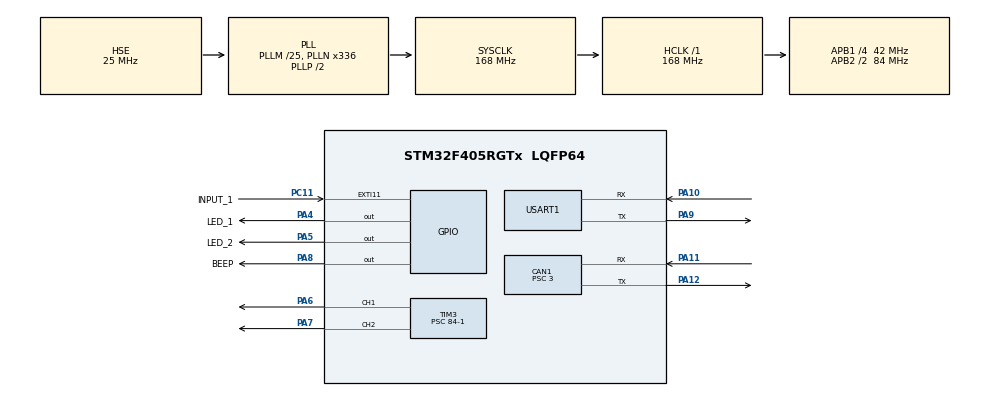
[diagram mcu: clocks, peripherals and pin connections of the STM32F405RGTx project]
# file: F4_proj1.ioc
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CAN1.ABOM=ENABLE
CAN1.AWUM=ENABLE
CAN1.BS1=CAN_BS1_9TQ
CAN1.BS2=CAN_BS2_4TQ
CAN1.CalculateBaudRate=1000000
CAN1.CalculateTimeBit=1000
CAN1.CalculateTimeQuantum=71.42857142857143
CAN1.NART=ENABLE
CAN1.Prescaler=3
Dma.Request0=USART1_RX
Dma.Request1=USART1_TX
Dma.USART1_RX.0.Direction=DMA_PERIPH_TO_MEMORY
Dma.USART1_RX.0.FIFOMode=DMA_FIFOMODE_DISABLE
Dma.USART1_RX.0.Instance=DMA2_Stream2
Dma.USART1_RX.0.MemDataAlignment=DMA_MDATAALIGN_BYTE
Dma.USART1_RX.0.MemInc=DMA_MINC_ENABLE
Dma.USART1_RX.0.Mode=DMA_NORMAL
Dma.USART1_RX.0.PeriphDataAlignment=DMA_PDATAALIGN_BYTE
Dma.USART1_RX.0.PeriphInc=DMA_PINC_DISABLE
Dma.USART1_RX.0.Priority=DMA_PRIORITY_LOW
Dma.USART1_TX.1.Direction=DMA_MEMORY_TO_PERIPH
Dma.USART1_TX.1.FIFOMode=DMA_FIFOMODE_DISABLE
Dma.USART1_TX.1.Instance=DMA2_Stream7
Dma.USART1_TX.1.MemDataAlignment=DMA_MDATAALIGN_BYTE
Dma.USART1_TX.1.MemInc=DMA_MINC_ENABLE
Dma.USART1_TX.1.Mode=DMA_NORMAL
Dma.USART1_TX.1.PeriphDataAlignment=DMA_PDATAALIGN_BYTE
Dma.USART1_TX.1.PeriphInc=DMA_PINC_DISABLE
Dma.USART1_TX.1.Priority=DMA_PRIORITY_LOW
Mcu.Family=STM32F4
Mcu.Name=STM32F405RGTx
Mcu.Package=LQFP64
NVIC.CAN1_RX0_IRQn=true\:5\:0\:true\:false\:true\:true\:true\:true
NVIC.CAN1_RX1_IRQn=true\:5\:0\:true\:false\:true\:true\:true\:true
NVIC.DMA2_Stream2_IRQn=true\:0\:0\:false\:false\:true\:false\:true\:true
NVIC.DMA2_Stream7_IRQn=true\:0\:0\:false\:false\:true\:false\:true\:true
NVIC.EXTI15_10_IRQn=true\:5\:0\:true\:false\:true\:true\:true\:true
NVIC.PriorityGroup=NVIC_PRIORITYGROUP_4
NVIC.TIM1_UP_TIM10_IRQn=true\:15\:0\:false\:false\:true\:false\:true\:true
NVIC.TIM2_IRQn=true\:5\:0\:true\:false\:true\:true\:true\:true
NVIC.TimeBase=TIM1_UP_TIM10_IRQn
NVIC.TimeBaseIP=TIM1
NVIC.USART1_IRQn=true\:5\:0\:true\:false\:true\:true\:true\:true
PA10.GPIO_PuPd=GPIO_PULLUP
PA10.Mode=Asynchronous
PA10.Signal=USART1_RX
PA11.Mode=CAN_Activate
PA11.Signal=CAN1_RX
PA12.Mode=CAN_Activate
PA12.Signal=CAN1_TX
PA4.GPIO_Label=LED_1
PA4.GPIO_PuPd=GPIO_PULLDOWN
PA4.Signal=GPIO_Output
PA5.GPIO_Label=LED_2
PA5.GPIO_PuPd=GPIO_PULLDOWN
PA5.Signal=GPIO_Output
PA6.Signal=S_TIM3_CH1
PA7.Signal=S_TIM3_CH2
PA8.GPIO_Label=BEEP
PA8.GPIO_PuPd=GPIO_PULLDOWN
PA8.Signal=GPIO_Output
PA9.Mode=Asynchronous
PA9.Signal=USART1_TX
PC11.GPIO_Label=INPUT_1
PC11.GPIO_PuPd=GPIO_PULLDOWN
PC11.Signal=GPXTI11
PH0-OSC_IN.Mode=HSE-External-Oscillator
PH0-OSC_IN.Signal=RCC_OSC_IN
PH1-OSC_OUT.Mode=HSE-External-Oscillator
PH1-OSC_OUT.Signal=RCC_OSC_OUT
ProjectManager.HeapSize=0x800
ProjectManager.StackSize=0x400
ProjectManager.TargetToolchain=MDK-ARM V5.32
RCC.48MHZClocksFreq_Value=84000000
RCC.AHBFreq_Value=168000000
RCC.APB1CLKDivider=RCC_HCLK_DIV4
RCC.APB1Freq_Value=42000000
RCC.APB1TimFreq_Value=84000000
RCC.APB2CLKDivider=RCC_HCLK_DIV2
RCC.APB2Freq_Value=84000000
RCC.APB2TimFreq_Value=168000000
RCC.CortexFreq_Value=168000000
RCC.HCLKFreq_Value=168000000
RCC.HSE_VALUE=25000000
RCC.HSI_VALUE=16000000
RCC.LSE_VALUE=32768
RCC.PLLM=25
RCC.PLLN=336
RCC.PLLSourceVirtual=RCC_PLLSOURCE_HSE
RCC.SYSCLKFreq_VALUE=168000000
RCC.SYSCLKSource=RCC_SYSCLKSOURCE_PLLCLK
RCC.VCOOutputFreq_Value=336000000
SH.S_TIM3_CH1.0=TIM3_CH1,PWM Generation1 CH1
SH.S_TIM3_CH2.0=TIM3_CH2,PWM Generation2 CH2
TIM2.Period=2000-1
TIM2.Prescaler=84-1
TIM3.AutoReloadPreload=TIM_AUTORELOAD_PRELOAD_ENABLE
TIM3.Channel-PWM\ Generation1\ CH1=TIM_CHANNEL_1
TIM3.Channel-PWM\ Generation2\ CH2=TIM_CHANNEL_2
TIM3.OCFastMode_PWM-PWM\ Generation1\ CH1=TIM_OCFAST_DISABLE
TIM3.Period=1000-1
TIM3.Prescaler=84-1
USART1.VirtualMode=VM_ASYNC
VP_SYS_VS_tim1.Mode=TIM1
VP_TIM2_VS_ClockSourceINT.Mode=Internal
VP_TIM3_VS_ClockSourceINT.Mode=Internal
board=custom

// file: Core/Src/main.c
/* USER CODE BEGIN Header */
/**
 ******************************************************************************
 * @file           : main.c
 * @brief          : Main program body
 ******************************************************************************
 * @attention
 *
 * Copyright (c) 2026 STMicroelectronics.
 * All rights reserved.
 *
 * This software is licensed under terms that can be found in the LICENSE file
 * in the root directory of this software component.
 * If no LICENSE file comes with this software, it is provided AS-IS.
 *
 ******************************************************************************
 */
/* USER CODE END Header */
#include "main.h"
#include "can.h"
#include "dma.h"
#include "tim.h"
#include "usart.h"
#include "gpio.h"

/* USER CODE BEGIN Includes */
#include "led.h"
#include "beep.h"
#include "EXTI_IRQHandler.h"
#include "TIM_IRQHandler.h"
#include "UART_IRQHandler.h"
#include "CAN_IRQHandler.h"
/* USER CODE END Includes */

/* USER CODE BEGIN PTD */
extern CAN_RxHeaderTypeDef RxHeader;
extern uint8_t RxData[8];
Mode State = IDLE;
uint8_t led_flag = 0;
uint8_t current_led = 0;
/* USER CODE END PTD */

void SystemClock_Config(void);

int main(void)
{

  /* MCU Configuration--------------------------------------------------------*/

  /* Reset of all peripherals, Initializes the Flash interface and the Systick. */
  HAL_Init();

  /* Configure the system clock */
  SystemClock_Config();

  /* Initialize all configured peripherals */
  MX_GPIO_Init();
  MX_DMA_Init();
  MX_TIM2_Init();
  MX_TIM3_Init();
  MX_USART1_UART_Init();
  MX_CAN1_Init();
  /* USER CODE BEGIN 2 */
  Beep_Init();
  UART_Start_Recieve();
  if (HAL_CAN_Start(&hcan1) != HAL_OK)
  {
    Error_Handler();
  }
  if (HAL_CAN_ActivateNotification(&hcan1, CAN_IT_RX_FIFO0_MSG_PENDING) != HAL_OK)
  {
    Error_Handler();
  }
  /* USER CODE END 2 */

  /* Infinite loop */
  /* USER CODE BEGIN WHILE */
  while (1)
  {
    switch (State)
    {
    case BUZZER:
      Beep_Alarm(Beep_Trigger);
      Beep_Trigger = 0;
      uint8_t beep_ans[2] = {'O', 'K'};
      CAN_Send_Response(&hcan1, 0x02010101, beep_ans, 2);
      break;

    case LED_WATER:
    {
      uint8_t led_ans[3] = {'O', 'K', current_led};
      CAN_Send_Response(&hcan1, 0x02010201, led_ans, 3);

      if (led_flag == 0)
      {
        LED_OFF(1);
        LED_OFF(2);
        current_led = 0;
      }
      else if (led_flag == 1)
      {
        led_Water();
        current_led = 1;
      }

      break;
    }

      State = IDLE;
      break;
    }
  }

  /* USER CODE END WHILE */

}

void SystemClock_Config(void)
{
  RCC_OscInitTypeDef RCC_OscInitStruct = {0};
  RCC_ClkInitTypeDef RCC_ClkInitStruct = {0};

  /** Configure the main internal regulator output voltage
   */
  __HAL_RCC_PWR_CLK_ENABLE();
  __HAL_PWR_VOLTAGESCALING_CONFIG(PWR_REGULATOR_VOLTAGE_SCALE1);

  /** Initializes the RCC Oscillators according to the specified parameters
   * in the RCC_OscInitTypeDef structure.
   */
  RCC_OscInitStruct.OscillatorType = RCC_OSCILLATORTYPE_HSE;
  RCC_OscInitStruct.HSEState = RCC_HSE_ON;
  RCC_OscInitStruct.PLL.PLLState = RCC_PLL_ON;
  RCC_OscInitStruct.PLL.PLLSource = RCC_PLLSOURCE_HSE;
  RCC_OscInitStruct.PLL.PLLM = 25;
  RCC_OscInitStruct.PLL.PLLN = 336;
  RCC_OscInitStruct.PLL.PLLP = RCC_PLLP_DIV2;
  RCC_OscInitStruct.PLL.PLLQ = 4;
  if (HAL_RCC_OscConfig(&RCC_OscInitStruct) != HAL_OK)
  {
    Error_Handler();
  }

  /** Initializes the CPU, AHB and APB buses clocks
   */
  RCC_ClkInitStruct.ClockType = RCC_CLOCKTYPE_HCLK | RCC_CLOCKTYPE_SYSCLK | RCC_CLOCKTYPE_PCLK1 | RCC_CLOCKTYPE_PCLK2;
  RCC_ClkInitStruct.SYSCLKSource = RCC_SYSCLKSOURCE_PLLCLK;
  RCC_ClkInitStruct.AHBCLKDivider = RCC_SYSCLK_DIV1;
  RCC_ClkInitStruct.APB1CLKDivider = RCC_HCLK_DIV4;
  RCC_ClkInitStruct.APB2CLKDivider = RCC_HCLK_DIV2;

  if (HAL_RCC_ClockConfig(&RCC_ClkInitStruct, FLASH_LATENCY_5) != HAL_OK)
  {
    Error_Handler();
  }
}

void HAL_TIM_PeriodElapsedCallback(TIM_HandleTypeDef *htim)
{
  if (htim->Instance == TIM1)
  {
    HAL_IncTick();
  }
  /* USER CODE BEGIN Callback 1 */
  TIM_PeriodElapsedCallback(htim);
  /* USER CODE END Callback 1 */
}

void Error_Handler(void)
{
  __disable_irq();
  while (1)
  {
  }
}
